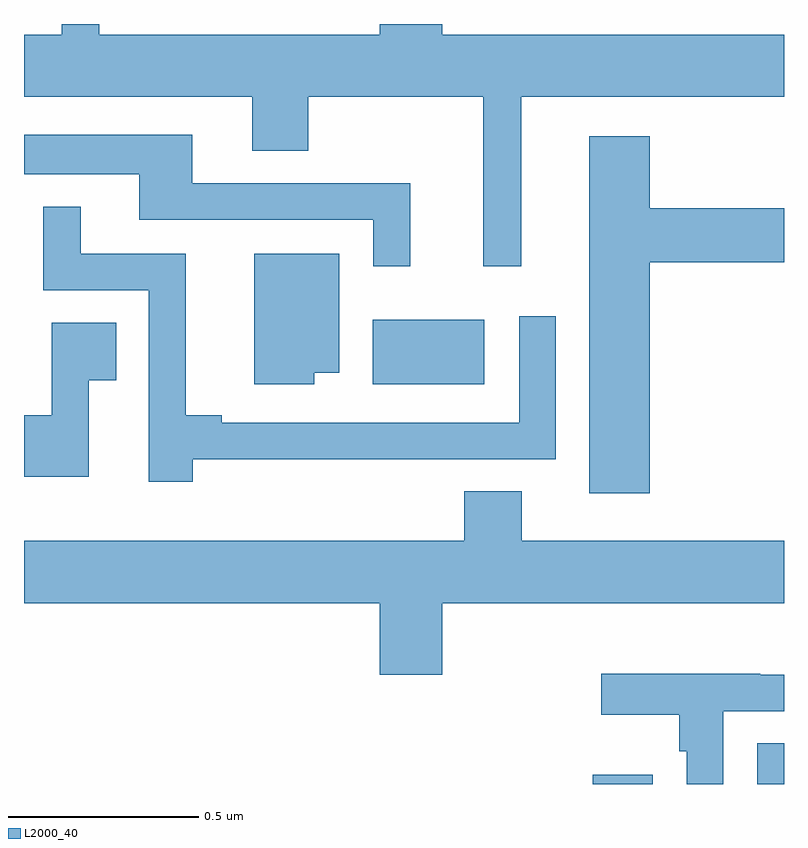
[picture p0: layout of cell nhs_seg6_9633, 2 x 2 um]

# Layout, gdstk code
import gdstk
lib = gdstk.Library(unit=1e-6, precision=1e-09)
def R(c, l, rs):  # rectangles x0, y0, x1, y1
    for r in rs: c.add(gdstk.rectangle(r[:2], r[2:], *l))
def P(c, l, *ps):  # polygons
    for p in ps: c.add(gdstk.Polygon(p, *l))
L2000_40 = (2000, 40)

nhs_seg6_9633 = lib.new_cell('nhs_seg6_9633')
R(nhs_seg6_9633, L2000_40, [(237.497,973.5,237.655,973.525), (237.929,973.5,238,973.607), (236.918,974.552,237.211,974.722)])
P(nhs_seg6_9633, L2000_40, [(237.308,975.308),(238,975.308),(238,975.472),(237.1,975.472),(237.1,975.5),(236.936,975.5),(236.936,975.472),(236.198,975.472),(236.198,975.5),(236.099,975.5),(236.099,975.472),(236,975.472),(236,975.308),(236.6,975.308),(236.6,975.166),(236.748,975.166),(236.748,975.308),(237.209,975.308),(237.209,974.862),(237.308,974.862)],
  [(237.017,975.081),(236.443,975.081),(236.443,975.208),(236,975.208),(236,975.104),(236.303,975.104),(236.303,974.985),(236.919,974.985),(236.919,974.862),(237.017,974.862)],
  [(237.647,974.873),(238,974.873),(238,975.015),(237.647,975.015),(237.647,975.205),(237.488,975.205),(237.488,974.265),(237.647,974.265)],
  [(236.444,974.354),(237.074,974.354),(237.074,974.355),(237.399,974.355),(237.399,974.731),(237.303,974.731),(237.303,974.451),(236.521,974.451),(236.521,974.471),(236.426,974.471),(236.426,974.895),(236.149,974.895),(236.149,975.019),(236.051,975.019),(236.051,974.799),(236.328,974.799),(236.328,974.295),(236.444,974.295)],
  [(236.764,974.582),(236.83,974.582),(236.83,974.896),(236.606,974.896),(236.606,974.552),(236.764,974.552)],
  [(236.17,974.563),(236.243,974.563),(236.243,974.714),(236.073,974.714),(236.073,974.47),(236,974.47),(236,974.309),(236.17,974.309)],
  [(237.1,973.976),(238,973.976),(238,974.14),(237.31,974.14),(237.31,974.27),(237.158,974.27),(237.158,974.14),(236,974.14),(236,973.976),(236.936,973.976),(236.936,973.788),(237.1,973.788)],
  [(237.84,973.692),(238,973.692),(238,973.788),(237.937,973.788),(237.937,973.79),(237.519,973.79),(237.519,973.682),(237.724,973.682),(237.724,973.586),(237.744,973.586),(237.744,973.5),(237.84,973.5)])

lib.write_gds('nhs_seg6_9633.gds')
